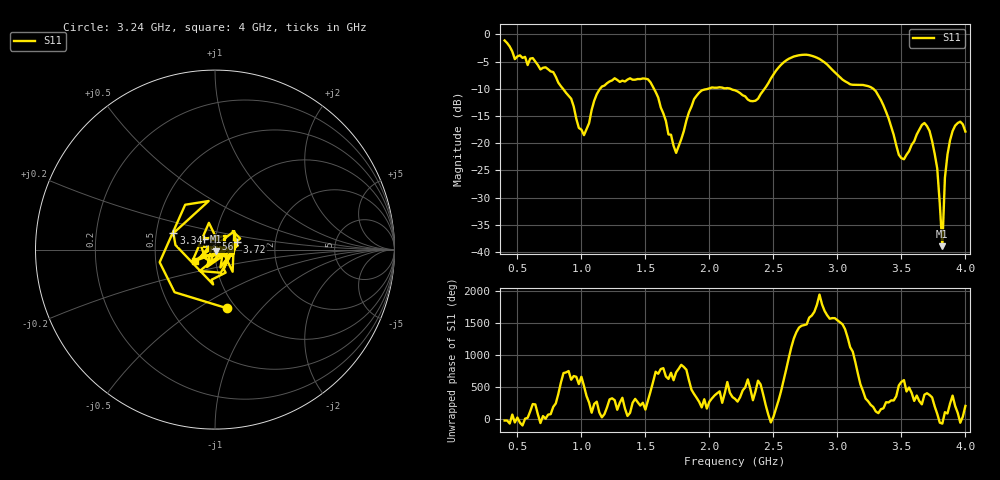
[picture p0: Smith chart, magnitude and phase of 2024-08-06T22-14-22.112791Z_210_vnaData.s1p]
!Created with skrf (http://scikit-rf.org).
# Hz S RI R 50.0
!freq ReS11 ImS11
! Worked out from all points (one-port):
!   181 points, 400 MHz to 4 GHz, reference 50 ohm
!   lowest |S11| = -38.9 dB at 3.82 GHz (marker M1), VSWR 1.02, Z = 50.5 - j1.03 ohm
!   |S11| at or under -10 dB: 855.6 MHz to 1.147 GHz (290.9 MHz wide, 29.1 % of centre); 1.567 GHz to 1.991 GHz (423.7 MHz wide, 23.8 % of centre); 3.28 GHz to end of sweep (the widest 3 of 4)
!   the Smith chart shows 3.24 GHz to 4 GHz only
!   S11 on the Smith chart (normalised r, x): 3.24 GHz: 0.91, -0.67; 3.34 GHz: 0.61, +0.12; 3.56 GHz: 0.88, +0.11; 3.72 GHz: 1.27, +0.11; 4 GHz: 0.79, -0.10
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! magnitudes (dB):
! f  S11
! 400 MHz  -1.1
! 480 MHz  -4.6
! 620 MHz  -4.4
! 860 MHz  -10.1
! 1.02 GHz  -18.5
! 1.14 GHz  -10.2
! 1.3 GHz  -8.8
! 1.52 GHz  -8.3
! 1.74 GHz  -21.8
! 1.76 GHz  -20.6
! 1.92 GHz  -10.7
! 2.2 GHz  -10.3
! 2.36 GHz  -12.2
! 2.66 GHz  -4.1
! 2.86 GHz  -4.5
! 3.1 GHz  -9.2
! 3.24 GHz  -9.5
! 3.34 GHz  -12.1
! 3.48 GHz  -22.1
! 3.56 GHz  -21.5
! 3.66 GHz  -16.7
! 3.72 GHz  -17.8
! 3.78 GHz  -24.7
! 3.82 GHz  -38.9
! 3.84 GHz  -26.4
! 3.88 GHz  -19.5
! 3.94 GHz  -16.3
! 4 GHz  -17.9
